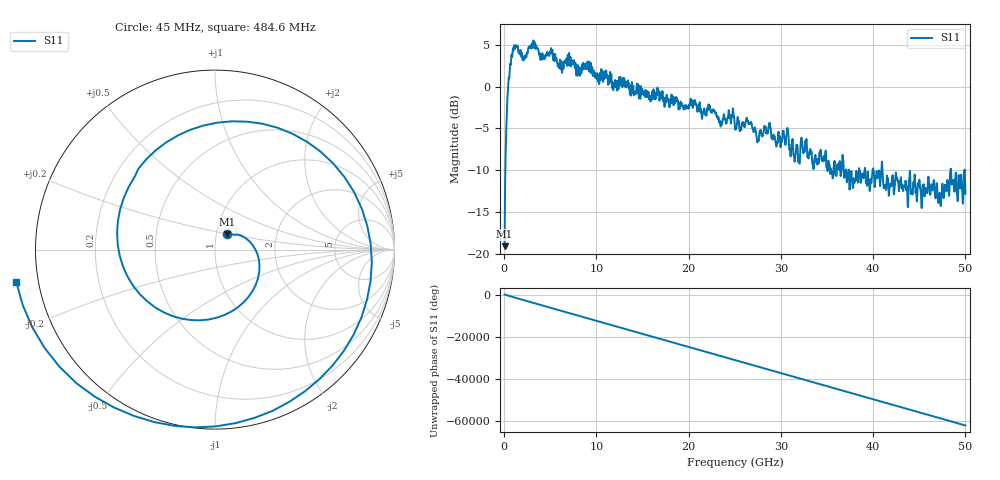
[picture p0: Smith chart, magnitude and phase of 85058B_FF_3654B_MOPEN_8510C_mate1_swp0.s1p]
!Created with skrf (http://scikit-rf.org).
# Hz S RI R 50.0
!freq ReS11 ImS11
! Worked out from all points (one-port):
!   10001 points, 45 MHz to 50 GHz, reference 50 ohm
!   lowest |S11| = -19.1 dB at 45 MHz (marker M1), VSWR 1.25, Z = 56.5 + j9.9 ohm
!   |S11| at or under -10 dB: 37.36 GHz to 38.45 GHz (1.098 GHz wide, 2.9 % of centre); 41.01 GHz to 48.39 GHz (7.38 GHz wide, 16.5 % of centre); 48.44 GHz to 49.9 GHz (1.463 GHz wide, 2.98 % of centre) (the widest 3 of 16)
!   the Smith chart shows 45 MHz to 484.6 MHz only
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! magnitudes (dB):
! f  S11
! 45 MHz  -19.1
! 319.8 MHz  -2.1
! 434.6 MHz  0.1
! 699.4 MHz  2.6
! 1.024 GHz  4.4
! 2.188 GHz  3.7
! 3.237 GHz  4.7
! 6.289 GHz  1.7
! 12.53 GHz  0.3
! 18.78 GHz  -1.8
! 25.02 GHz  -5.0
! 26.51 GHz  -4.5
! 27.52 GHz  -6.5
! 28.68 GHz  -4.8
! 29.44 GHz  -6.8
! 30.59 GHz  -5.9
! 31.27 GHz  -6.3
! 32.56 GHz  -7.8
! 33.6 GHz  -8.9
! 36.57 GHz  -10.1
! 37.51 GHz  -11.2
! 40.77 GHz  -11.7
! 41.29 GHz  -11.9
! 43.76 GHz  -14.4
! 46.46 GHz  -12.3
! 47.2 GHz  -12.8
! 48.52 GHz  -11.7
! 50 GHz  -12.8
